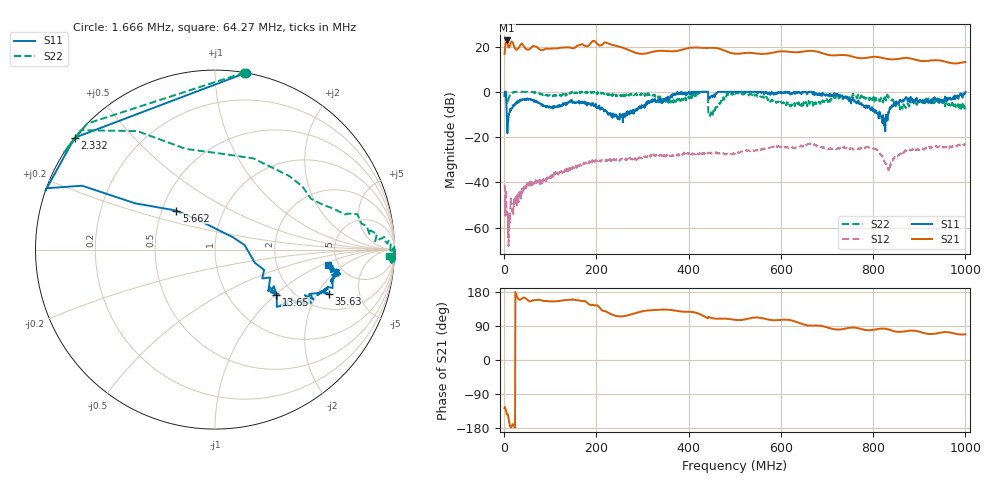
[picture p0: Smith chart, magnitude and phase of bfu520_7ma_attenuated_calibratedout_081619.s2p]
! created by kelvin at Fri Aug 16 00:09:21 EDT 2019
! generated using vna/J Version 3.3.2
# Hz S DB R 50.0
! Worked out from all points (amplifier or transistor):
!   1501 points, 1 MHz to 1 GHz, reference 50 ohm
!   highest |S21| = 22.7 dB at 6.328 MHz (marker M1)
!   |S21| within 3 dB of that: 154.8 MHz to 253.8 MHz (98.97 MHz wide, 48.5 % of centre)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
!   unconditionally stable (mu >= 1): 85.02 MHz to 98.65 MHz; 775.7 MHz to 800.6 MHz; 801.1 MHz to 868.1 MHz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
!   at 167.5 MHz: K = 0.14, MSG = 26.6 dB, |S12| = -32.2 dB
!   at 500.5 MHz: K = -0.33, MSG = 22.2 dB, |S12| = -27.4 dB
!   at 1 GHz: K = -0.25, MSG = 18.0 dB, |S12| = -22.8 dB
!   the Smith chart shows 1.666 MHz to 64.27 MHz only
!   S11 on the Smith chart (normalised r, x): 1.666 MHz: -0.00, +1.19; 2.332 MHz: -0.00, +0.35; 5.662 MHz: 0.60, +0.29; 13.65 MHz: 1.65, -1.01; 35.63 MHz: 2.75, -2.52; 64.27 MHz: 4.14, -1.21
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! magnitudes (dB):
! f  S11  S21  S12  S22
! 1 MHz  -1.9  16.8  -41.0  -1.9
! 1.666 MHz  0.0  18.4  -42.7  0.0
! 2.332 MHz  0.0  20.0  -54.8  0.0
! 5.662 MHz  -10.3  22.5  -53.5  -5.4
! 6.328 MHz  -14.8  22.7  -52.8  -5.2
! 13.65 MHz  -7.4  21.2  -48.6  -1.2
! 35.63 MHz  -3.4  20.8  -44.5  0.0
! 64.27 MHz  -3.9  20.2  -40.9  -0.3
! 167.5 MHz  -4.7  20.9  -32.2  -0.2
! 248.8 MHz  -11.3  20.0  -30.1  -2.0
! 334 MHz  -3.5  18.1  -27.8  -2.3
! 362.6 MHz  -2.2  17.9  -28.3  -4.6
! 437.2 MHz  0.0  19.4  -27.1  0.0
! 447.9 MHz  -2.1  19.5  -27.0  -9.7
! 500.5 MHz  0.0  16.9  -27.4  -0.3
! 667 MHz  -0.2  18.1  -23.3  -4.6
! 802.2 MHz  -8.4  15.5  -25.2  -3.9
! 822.2 MHz  -12.3  14.9  -29.7  -3.8
! 833.5 MHz  -9.0  14.5  -34.4  -2.4
! 872.8 MHz  -2.6  15.0  -25.8  -6.0
! 938.7 MHz  -3.0  13.9  -24.2  -3.9
! 1 GHz  0.0  13.2  -22.8  -7.7
